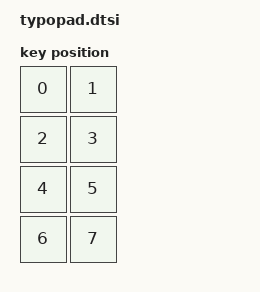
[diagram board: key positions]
#include <physical_layouts.dtsi>

/ {
    physical_layout0: physical_layout_0 {
        compatible = "zmk,physical-layout";
        display-name = "LAYOUT";

        kscan = <&default_kscan0>;
        transform = <&default_transform>;

        keys  //                     w   h    x    y     rot    rx    ry
            = <&key_physical_attrs 100 100    0    0       0     0     0>
            , <&key_physical_attrs 100 100  100    0       0     0     0>
            , <&key_physical_attrs 100 100    0  100       0     0     0>
            , <&key_physical_attrs 100 100  100  100       0     0     0>
            , <&key_physical_attrs 100 100    0  200       0     0     0>
            , <&key_physical_attrs 100 100  100  200       0     0     0>
            , <&key_physical_attrs 100 100    0  300       0     0     0>
            , <&key_physical_attrs 100 100  100  300       0     0     0>
            ;
    };
     position_map {
         compatible = "zmk,physical-layout-position-map";
         complete;

         position_map0: physical_layout0 {
             physical-layout = <&physical_layout0>;
             positions
             = <0 1>
             , <2 3>
             , <4 5>
             , <6 7>
             ;
      };
    };
};
